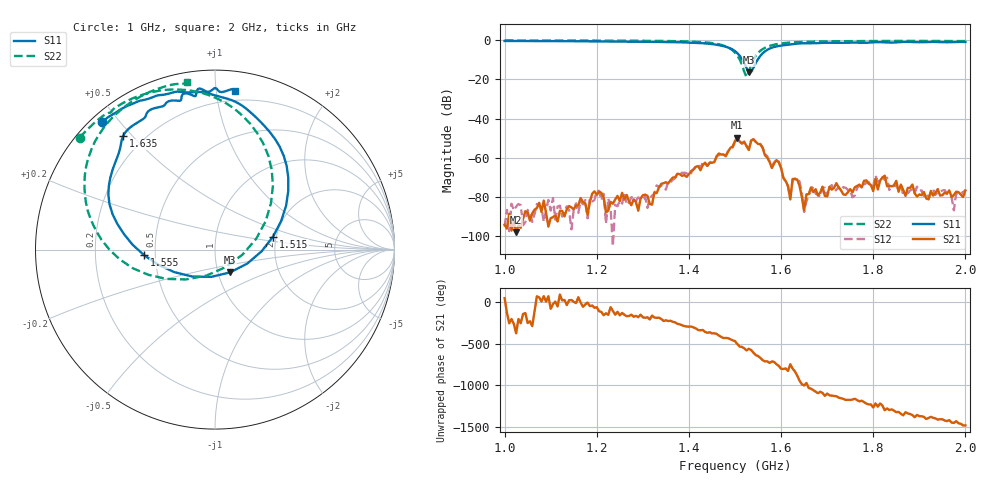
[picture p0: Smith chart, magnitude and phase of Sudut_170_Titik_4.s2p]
# Hz S RI R 50
! CMT, C1220, 16058040, 17.2.0/1
! Date: 14/08/2018 12:31:09
! Data: Format (Calibration Info)
! Freq  S11: Re/Im (F2)  S21: Re/Im (F2)  S12: Re/Im (F2)  S22: Re/Im (F2)
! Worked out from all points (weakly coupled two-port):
!   201 points, 1 GHz to 2 GHz, reference 50 ohm
!   highest |S21| = -49.68 dB at 1.505 GHz (marker M1); lowest = -98.0 dB at 1.025 GHz (marker M2)
!   lowest |S11| = -16.3 dB at 1.53 GHz (marker M3), VSWR 1.36, Z = 57.1 - j14.9 ohm
!   |S11| at or under -10 dB: 1.516 GHz to 1.549 GHz (33.24 MHz wide, 2.17 % of centre)
!   |S22| runs from -18.8 to -0.2 dB; largest |S21 - S12| = 0.00023
!   S11 on the Smith chart (normalised r, x): 1 GHz: 0.03, +0.45; 1.515 GHz: 1.92, +0.31; 1.555 GHz: 0.43, -0.03; 1.635 GHz: 0.13, +0.47; 2 GHz: 0.13, +1.13
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1e9  -0.6285 0.7096  1.44e-05 1.35e-05  -2.21e-07 -1.74e-05  -0.7534 0.6238
1.025e9  -0.6064 0.7286  1.21e-05 -3.76e-06  -5.28e-05 2.02e-05  -0.7372 0.6422
1.17e9  -0.4523 0.8156  3.76e-05 -6.34e-05  5.79e-05 -2.9e-05  -0.6174 0.7491
1.335e9  -0.1874 0.8776  -0.000172 3.17e-05  -0.000175 3.13e-05  -0.4019 0.8635
1.45e9  0.1956 0.7668  0.000706 -0.000235  0.000723 -0.000346  0.0195 0.838
1.5e9  0.4084 0.3276  -0.00097 -0.0025  -0.000893 -0.00235  0.3225 0.3551
1.505e9  0.3965 0.2458  -0.00272 -0.00184  -0.00249 -0.00185  0.312 0.2593
1.515e9  0.3231 0.0719  -0.0023 1.18e-05  -0.00232 -0.000108  0.2292 0.0595
1.53e9  0.084 -0.127  -0.00145 0.000619  -0.00148 0.000656  -0.049 -0.1452
1.555e9  -0.3951 -0.0312  0.00146 0.00164  0.0014 0.00177  -0.5315 -0.0538
1.58e9  -0.5879 0.2533  0.000544 6.07e-05  0.000593 -2.56e-05  -0.7086 0.2144
1.595e9  -0.583 0.4021  0.000531 -0.000558  0.000506 -0.000612  -0.727 0.3442
1.62e9  -0.5278 0.568  7.72e-05 -3.94e-05  7.98e-05 -5.88e-05  -0.7092 0.4978
1.625e9  -0.5234 0.5899  5.07e-05 -0.000283  4.19e-05 -0.000264  -0.7019 0.5212
1.635e9  -0.5129 0.631  -0.000267 -7.91e-05  -0.000282 -3.2e-05  -0.6862 0.5638
1.65e9  -0.4702 0.6823  9.42e-06 4.45e-05  -1.4e-05 3.94e-05  -0.6608 0.6162
1.67e9  -0.4019 0.7264  0.000123 5.13e-05  0.000179 -2.01e-05  -0.6256 0.6716
1.755e9  -0.2514 0.8287  2.65e-06 -0.000132  3.66e-05 -9.09e-05  -0.4902 0.8054
1.8e9  -0.1842 0.8586  -0.000141 1e-05  -0.000193 -2.61e-05  -0.4261 0.8465
1.805e9  -0.1789 0.8659  -0.000209 -0.0002  -0.000311 -0.000173  -0.4192 0.8507
1.835e9  -0.1152 0.8554  -0.000158 0.000111  -0.000117 9.56e-05  -0.3788 0.8713
2e9  0.112 0.8861  0.000114 -9.15e-05  0.000104 -0.000102  -0.1557 0.9317
